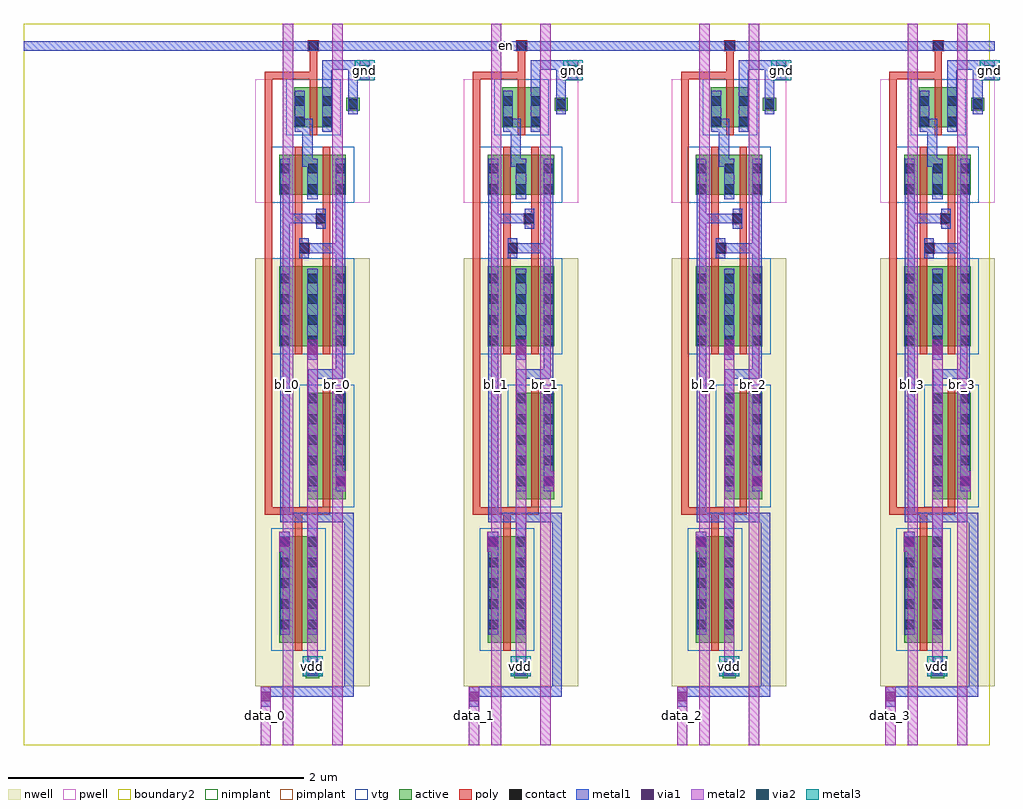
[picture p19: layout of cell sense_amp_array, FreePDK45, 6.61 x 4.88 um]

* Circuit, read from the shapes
.subckt sense_amp_array bl_0 bl_1 bl_2 bl_3 br_0 br_1 br_2 br_3 data_0 data_1 data_2 data_3 en gnd vdd
M1 n1 n2 data_0 gnd nfet w=0.27u l=0.05u
M2 gnd en n1 gnd nfet w=0.27u l=0.05u
M3 n2 data_0 n1 gnd nfet w=0.27u l=0.05u
M4 n3 n4 data_1 gnd nfet w=0.27u l=0.05u
M5 gnd en n3 gnd nfet w=0.27u l=0.05u
M6 n4 data_1 n3 gnd nfet w=0.27u l=0.05u
M7 n5 n6 data_2 gnd nfet w=0.27u l=0.05u
M8 gnd en n5 gnd nfet w=0.27u l=0.05u
M9 n6 data_2 n5 gnd nfet w=0.27u l=0.05u
M10 n7 n8 data_3 gnd nfet w=0.27u l=0.05u
M11 gnd en n7 gnd nfet w=0.27u l=0.05u
M12 n8 data_3 n7 gnd nfet w=0.27u l=0.05u
M13 data_0 en bl_0 vdd pfet w=0.72u l=0.05u
M14 vdd n2 data_0 vdd pfet w=0.54u l=0.05u
M15 br_0 en n2 vdd pfet w=0.72u l=0.05u
M16 n2 data_0 vdd vdd pfet w=0.54u l=0.05u
M17 data_1 en bl_1 vdd pfet w=0.72u l=0.05u
M18 vdd n4 data_1 vdd pfet w=0.54u l=0.05u
M19 br_1 en n4 vdd pfet w=0.72u l=0.05u
M20 n4 data_1 vdd vdd pfet w=0.54u l=0.05u
M21 data_2 en bl_2 vdd pfet w=0.72u l=0.05u
M22 vdd n6 data_2 vdd pfet w=0.54u l=0.05u
M23 br_2 en n6 vdd pfet w=0.72u l=0.05u
M24 n6 data_2 vdd vdd pfet w=0.54u l=0.05u
M25 data_3 en bl_3 vdd pfet w=0.72u l=0.05u
M26 vdd n8 data_3 vdd pfet w=0.54u l=0.05u
M27 br_3 en n8 vdd pfet w=0.72u l=0.05u
M28 n8 data_3 vdd vdd pfet w=0.54u l=0.05u
.ends

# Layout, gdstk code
import gdstk
lib = gdstk.Library(unit=1e-6, precision=5e-10)
def R(c, l, rs):  # rectangles x0, y0, x1, y1
    for r in rs: c.add(gdstk.rectangle(r[:2], r[2:], *l))
def A(c, l, x, y, w, h, nx, ny, dx, dy):  # array of equal rectangles
    R(c, l, [(x+i*dx, y+j*dy, x+i*dx+w, y+j*dy+h) for i in range(nx) for j in range(ny)])
active = (1, 0)
pwell = (2, 0)
nwell = (3, 0)
nimplant = (4, 0)
pimplant = (5, 0)
vtg = (6, 0)
poly = (9, 0)
contact = (10, 0)
metal1 = (11, 0)
via1 = (12, 0)
metal2 = (13, 0)
via2 = (14, 0)
metal3 = (15, 0)
boundary2 = (239, 0)

sense_amp = lib.new_cell('sense_amp')
R(sense_amp, active, [(0.3075,0.455,0.3975,0.545), (0.1275,0.695,0.3875,1.415), (0.1275,0.695,0.2025,1.415), (0.1275,0.695,0.2025,1.415), (0.3125,0.695,0.3875,1.415), (0.3125,0.695,0.3875,1.415), (0.1275,0.78,0.2025,1.415), (0.3125,0.78,0.3875,1.415), (0.3175,1.665,0.5775,2.385), (0.3175,1.665,0.3925,2.385), (0.3175,1.665,0.3925,2.385), (0.5025,1.665,0.5775,2.385), (0.5025,1.665,0.5775,2.385), (0.3175,1.75,0.3925,2.385), (0.5025,1.75,0.5775,2.385), (0.1275,2.7025,0.2025,3.1975), (0.1275,2.7025,0.3875,3.2425), (0.1275,2.7025,0.2025,3.2425), (0.1275,2.7025,0.2025,3.2425), (0.3125,2.7025,0.3875,3.1975), (0.3125,2.7025,0.3875,3.2425), (0.3125,2.7025,0.3875,3.2425), (0.3175,2.7025,0.3925,3.1975), (0.3175,2.7025,0.5775,3.2425), (0.3175,2.7025,0.3925,3.2425), (0.3175,2.7025,0.3925,3.2425), (0.5025,2.7025,0.5775,3.1975), (0.5025,2.7025,0.5775,3.2425), (0.5025,2.7025,0.5775,3.2425), (0.1275,3.7275,0.2025,3.9425), (0.1275,3.7275,0.3875,3.9975), (0.1275,3.7275,0.2025,3.9975), (0.1275,3.7275,0.2025,3.9975), (0.3125,3.7275,0.3875,3.9425), (0.3125,3.7275,0.3875,3.9975), (0.3125,3.7275,0.3875,3.9975), (0.3175,3.7275,0.3925,3.9425), (0.3175,3.7275,0.5775,3.9975), (0.3175,3.7275,0.3925,3.9975), (0.3175,3.7275,0.3925,3.9975), (0.5025,3.7275,0.5775,3.9425), (0.5025,3.7275,0.5775,3.9975), (0.5025,3.7275,0.5775,3.9975), (0.2275,4.185,0.3025,4.4), (0.2275,4.185,0.4875,4.455), (0.2275,4.185,0.3025,4.455), (0.2275,4.185,0.3025,4.455), (0.4125,4.185,0.4875,4.4), (0.4125,4.185,0.4875,4.455), (0.4125,4.185,0.4875,4.455), (0.58,4.295,0.67,4.385)])
R(sense_amp, pwell, [(-0.035,3.6725,0.74,4.51), (0.0725,3.6725,0.4425,4.0525), (0.2625,3.6725,0.6325,4.0525), (0.1725,4.13,0.5425,4.51), (0.525,4.24,0.725,4.44)])
R(sense_amp, nwell, [(-0.035,0.4,0.74,3.2975), (0.2525,0.4,0.4525,0.6), (0.0725,0.64,0.4425,1.47), (0.2625,1.61,0.6325,2.44), (0.0725,2.6475,0.4425,3.2975), (0.2625,2.6475,0.6325,3.2975)])
R(sense_amp, nimplant, [(0.3075,0.455,0.3975,0.545), (0.1275,3.7275,0.3875,3.9975), (0.3175,3.7275,0.5775,3.9975), (0.2275,4.185,0.4875,4.455)])
R(sense_amp, pimplant, [(0.1275,0.695,0.3875,1.415), (0.3175,1.665,0.5775,2.385), (0.1275,2.7025,0.3875,3.2425), (0.3175,2.7025,0.5775,3.2425), (0.58,4.295,0.67,4.385)])
R(sense_amp, vtg, [(0.0725,0.64,0.4425,1.47), (0.2625,1.61,0.6325,2.44), (0.0725,2.6475,0.4425,3.2975), (0.2625,2.6475,0.6325,3.2975), (0.0725,3.6725,0.4425,4.0525), (0.2625,3.6725,0.6325,4.0525), (0.1725,4.13,0.5425,4.51)])
R(sense_amp, poly, [(0.2325,0.64,0.2825,0.695), (0.2325,0.64,0.2825,1.47), (0.2325,1.415,0.2825,1.47), (0.2325,1.47,0.2825,1.56), (0.0275,1.56,0.4725,1.61), (0.0275,1.61,0.0775,4.51), (0.4225,1.61,0.4725,1.665), (0.4225,1.61,0.4725,2.44), (0.4225,2.385,0.4725,2.44), (0.2325,2.6475,0.2825,2.7025), (0.2325,2.6475,0.2825,3.2975), (0.4225,2.6475,0.4725,2.7025), (0.4225,2.6475,0.4725,3.2975), (0.2325,2.915,0.2825,3.6725), (0.4225,2.915,0.4725,3.6725), (0.2325,3.2425,0.2825,3.2975), (0.4225,3.2425,0.4725,3.2975), (0.2575,3.3275,0.3325,3.4025), (0.3725,3.5275,0.4475,3.6025), (0.2325,3.6725,0.2825,3.7275), (0.2325,3.6725,0.2825,4.0525), (0.4225,3.6725,0.4725,3.7275), (0.4225,3.6725,0.4725,4.0525), (0.2325,3.9975,0.2825,4.0525), (0.4225,3.9975,0.4725,4.0525), (0.3325,4.13,0.3825,4.185), (0.3325,4.13,0.3825,4.51), (0.3325,4.455,0.3825,4.51), (0.0275,4.51,0.3825,4.56), (0.3325,4.56,0.3825,4.765), (0.32,4.6975,0.395,4.7725)])
A(sense_amp, contact, 0.1325, 0.785, 0.065, 0.065, 1, 5, 0, 0.14)
A(sense_amp, contact, 0.3175, 0.785, 0.065, 0.065, 1, 5, 0, 0.14)
A(sense_amp, contact, 0.3225, 1.755, 0.065, 0.065, 1, 5, 0, 0.14)
A(sense_amp, contact, 0.5075, 1.755, 0.065, 0.065, 1, 5, 0, 0.14)
A(sense_amp, contact, 0.1325, 2.7075, 0.065, 0.065, 1, 4, 0, 0.14)
A(sense_amp, contact, 0.3225, 2.7075, 0.065, 0.065, 1, 4, 0, 0.14)
A(sense_amp, contact, 0.5075, 2.7075, 0.065, 0.065, 1, 4, 0, 0.14)
R(sense_amp, contact, [(0.32,0.4675,0.385,0.5325), (0.2625,3.3325,0.3275,3.3975), (0.3775,3.5325,0.4425,3.5975), (0.1325,3.7325,0.1975,3.7975), (0.3225,3.7325,0.3875,3.7975), (0.5075,3.7325,0.5725,3.7975), (0.1325,3.8725,0.1975,3.9375), (0.3225,3.8725,0.3875,3.9375), (0.5075,3.8725,0.5725,3.9375), (0.2325,4.19,0.2975,4.255), (0.4175,4.19,0.4825,4.255), (0.5925,4.3075,0.6575,4.3725), (0.2325,4.33,0.2975,4.395), (0.4175,4.33,0.4825,4.395), (0.325,4.7025,0.39,4.7675)])
R(sense_amp, metal1, [(0.0025,0.2625,0.0675,0.3975), (0.0025,0.3275,0.63,0.3975), (0.565,0.3275,0.63,1.575), (0.285,0.4675,0.42,0.5325), (0.32,0.4675,0.385,0.6025), (0.1325,0.75,0.1975,1.445), (0.3175,0.75,0.3825,1.445), (0.1275,1.31,0.1925,1.445), (0.32,1.3775,0.385,1.575), (0.1325,1.51,0.63,1.575), (0.1325,1.575,0.1975,2.6725), (0.3225,1.72,0.3875,2.415), (0.5075,1.72,0.5725,2.415), (0.51,1.72,0.575,1.855), (0.3225,2.35,0.3875,2.545), (0.3225,2.48,0.5725,2.545), (0.5075,2.48,0.5725,2.675), (0.32,2.61,0.385,2.745), (0.1325,2.6725,0.1975,3.2275), (0.3175,2.6725,0.3825,3.2275), (0.3225,2.6725,0.3875,3.2275), (0.5075,2.6725,0.5725,3.2275), (0.1325,2.835,0.1975,3.7025), (0.5075,2.835,0.5725,3.6975), (0.2625,3.2975,0.3275,3.4325), (0.2825,3.3325,0.5725,3.3975), (0.3775,3.4975,0.4425,3.6325), (0.1325,3.5325,0.4225,3.5975), (0.1325,3.6975,0.1975,3.9725), (0.3175,3.6975,0.3825,3.9725), (0.3225,3.6975,0.3875,3.9725), (0.5075,3.6975,0.5725,3.9725), (0.2825,3.915,0.3525,4.2425), (0.2325,4.155,0.2975,4.43), (0.4175,4.155,0.4825,4.43), (0.5925,4.2725,0.6575,4.4075), (0.5925,4.4075,0.6575,4.6375), (0.4175,4.42,0.4825,4.5725), (0.6575,4.5025,0.6725,4.5725), (0.6725,4.5025,0.7375,4.6375), (0.4175,4.5725,0.74,4.6375), (-0.035,4.7025,0.74,4.7675), (-0.035,4.7025,0.74,4.7675), (0.23,4.7025,0.295,4.7675), (0.29,4.7025,0.425,4.7675)])
R(sense_amp, via1, [(0.0025,0.2975,0.0675,0.3625), (0.32,0.5025,0.385,0.5675), (0.1275,1.345,0.1925,1.41), (0.51,1.755,0.575,1.82), (0.32,2.645,0.385,2.71), (0.6725,4.5375,0.7375,4.6025)])
R(sense_amp, metal2, [(0,0,0.07,0.3975), (0,0,0.07,0.3975), (0.15,0,0.22,4.885), (0.15,0,0.22,4.885), (0.485,0,0.555,4.885), (0.485,0,0.555,4.885), (0.3175,0.4675,0.3875,0.6025), (0.3175,0.4675,0.3875,0.6025), (0.3175,0.6,0.3875,2.61), (0.125,1.31,0.195,1.445), (0.5075,1.72,0.5775,1.855), (0.3175,2.61,0.3875,2.745), (0.67,4.5025,0.74,4.6375), (0.67,4.5025,0.74,4.6375)])
R(sense_amp, boundary2, [(0,0,0.705,4.885)])
sense_amp.add(gdstk.Label('en', (0.258,4.735), layer=11, texttype=0))
sense_amp.add(gdstk.Label('dout', (0.0345,0.023), layer=13, texttype=0))
sense_amp.add(gdstk.Label('gnd', (0.7025,4.61), layer=13, texttype=0))
sense_amp.add(gdstk.Label('br', (0.52,0.023), layer=13, texttype=0))
sense_amp.add(gdstk.Label('bl', (0.19,0.03), layer=13, texttype=0))
sense_amp.add(gdstk.Label('vdd', (0.3525,0.505), layer=13, texttype=0))
sense_amp.add(gdstk.Label('bl', (0.185,2.4425), layer=13, texttype=0))
sense_amp.add(gdstk.Label('br', (0.52,2.4425), layer=13, texttype=0))
sense_amp.add(gdstk.Label('dout', (0.035,0.199), layer=13, texttype=0))
sense_amp.add(gdstk.Label('en', (0.3525,4.735), layer=11, texttype=0))
sense_amp.add(gdstk.Label('vdd', (0.3525,0.535), layer=13, texttype=0))
sense_amp.add(gdstk.Label('gnd', (0.705,4.57), layer=13, texttype=0))

contact_6 = lib.new_cell('contact_6')
R(contact_6, metal2, [(0.0325,0,0.1025,0.135)])
R(contact_6, via2, [(0.035,0.035,0.1,0.1)])
R(contact_6, metal3, [(0,0.0325,0.135,0.1025)])
R(contact_6, boundary2, [(0,0,0.135,0.135)])

sense_amp_array = lib.new_cell('sense_amp_array')
A(sense_amp_array, metal1, 1.925, 4.7025, 0.065, 0.065, 4, 1, 1.41, 0)
R(sense_amp_array, metal1, [(0,4.7025,6.54,4.7675)])
A(sense_amp_array, metal2, 1.605, 0, 0.07, 0.3975, 4, 1, 1.41, 0)
R(sense_amp_array, metal2, [(1.755,0,1.825,4.885), (2.09,0,2.16,4.885), (3.165,0,3.235,4.885), (3.5,0,3.57,4.885), (4.575,0,4.645,4.885), (4.91,0,4.98,4.885), (5.985,0,6.055,4.885), (6.32,0,6.39,4.885)])
A(sense_amp_array, metal3, 1.89, 0.4675, 0.135, 0.135, 4, 1, 1.41, 0)
A(sense_amp_array, metal3, 2.2425, 4.5025, 0.135, 0.135, 4, 1, 1.41, 0)
R(sense_amp_array, boundary2, [(0,0,6.54,4.885)])
sense_amp_array.add(gdstk.Reference(sense_amp, (1.605,0)))
sense_amp_array.add(gdstk.Reference(sense_amp, (3.015,0)))
sense_amp_array.add(gdstk.Reference(sense_amp, (4.425,0)))
sense_amp_array.add(gdstk.Reference(sense_amp, (5.835,0)))
sense_amp_array.add(gdstk.Reference(contact_6, (2.2425,4.5025)))
sense_amp_array.add(gdstk.Reference(contact_6, (1.89,0.4675)))
sense_amp_array.add(gdstk.Reference(contact_6, (3.6525,4.5025)))
sense_amp_array.add(gdstk.Reference(contact_6, (3.3,0.4675)))
sense_amp_array.add(gdstk.Reference(contact_6, (5.0625,4.5025)))
sense_amp_array.add(gdstk.Reference(contact_6, (4.71,0.4675)))
sense_amp_array.add(gdstk.Reference(contact_6, (6.4725,4.5025)))
sense_amp_array.add(gdstk.Reference(contact_6, (6.12,0.4675)))
sense_amp_array.add(gdstk.Label('gnd', (6.54,4.57), layer=15, texttype=0))
sense_amp_array.add(gdstk.Label('gnd', (2.31,4.57), layer=15, texttype=0))
sense_amp_array.add(gdstk.Label('gnd', (3.72,4.57), layer=15, texttype=0))
sense_amp_array.add(gdstk.Label('gnd', (5.13,4.57), layer=15, texttype=0))
sense_amp_array.add(gdstk.Label('vdd', (4.7775,0.535), layer=15, texttype=0))
sense_amp_array.add(gdstk.Label('vdd', (3.3675,0.535), layer=15, texttype=0))
sense_amp_array.add(gdstk.Label('vdd', (1.9575,0.535), layer=15, texttype=0))
sense_amp_array.add(gdstk.Label('vdd', (6.1875,0.535), layer=15, texttype=0))
sense_amp_array.add(gdstk.Label('bl_0', (1.79,2.4425), layer=13, texttype=0))
sense_amp_array.add(gdstk.Label('br_0', (2.125,2.4425), layer=13, texttype=0))
sense_amp_array.add(gdstk.Label('data_0', (1.64,0.199), layer=13, texttype=0))
sense_amp_array.add(gdstk.Label('bl_1', (3.2,2.4425), layer=13, texttype=0))
sense_amp_array.add(gdstk.Label('br_1', (3.535,2.4425), layer=13, texttype=0))
sense_amp_array.add(gdstk.Label('data_1', (3.05,0.199), layer=13, texttype=0))
sense_amp_array.add(gdstk.Label('bl_2', (4.61,2.4425), layer=13, texttype=0))
sense_amp_array.add(gdstk.Label('br_2', (4.945,2.4425), layer=13, texttype=0))
sense_amp_array.add(gdstk.Label('data_2', (4.46,0.199), layer=13, texttype=0))
sense_amp_array.add(gdstk.Label('bl_3', (6.02,2.4425), layer=13, texttype=0))
sense_amp_array.add(gdstk.Label('br_3', (6.355,2.4425), layer=13, texttype=0))
sense_amp_array.add(gdstk.Label('data_3', (5.87,0.199), layer=13, texttype=0))
sense_amp_array.add(gdstk.Label('en', (3.27,4.735), layer=11, texttype=0))

lib.write_gds('sense_amp_array.gds')
